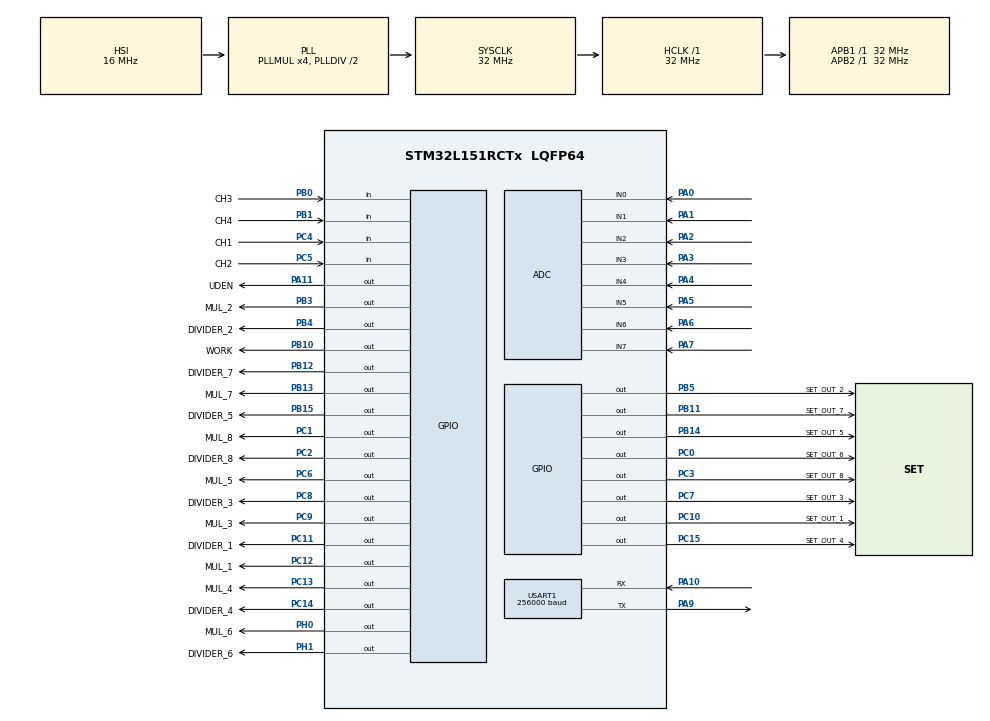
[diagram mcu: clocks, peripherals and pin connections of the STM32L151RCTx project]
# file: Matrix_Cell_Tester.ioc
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ADC.Channel-0\#ChannelRegularConversion=ADC_CHANNEL_0
ADC.Channel-1\#ChannelRegularConversion=ADC_CHANNEL_1
ADC.Channel-2\#ChannelRegularConversion=ADC_CHANNEL_2
ADC.Channel-3\#ChannelRegularConversion=ADC_CHANNEL_3
ADC.Channel-4\#ChannelRegularConversion=ADC_CHANNEL_4
ADC.Channel-5\#ChannelRegularConversion=ADC_CHANNEL_5
ADC.Channel-6\#ChannelRegularConversion=ADC_CHANNEL_6
ADC.Channel-7\#ChannelRegularConversion=ADC_CHANNEL_7
ADC.ClockPrescaler=ADC_CLOCK_ASYNC_DIV2
ADC.ContinuousConvMode=ENABLE
ADC.DMAContinuousRequests=ENABLE
ADC.EOCSelection=ADC_EOC_SEQ_CONV
ADC.NbrOfConversion=8
ADC.NbrOfConversionFlag=1
ADC.Rank-0\#ChannelRegularConversion=1
ADC.Rank-1\#ChannelRegularConversion=2
ADC.Rank-2\#ChannelRegularConversion=3
ADC.Rank-3\#ChannelRegularConversion=4
ADC.Rank-4\#ChannelRegularConversion=5
ADC.Rank-5\#ChannelRegularConversion=6
ADC.Rank-6\#ChannelRegularConversion=7
ADC.Rank-7\#ChannelRegularConversion=8
ADC.SamplingTime-0\#ChannelRegularConversion=ADC_SAMPLETIME_192CYCLES
ADC.SamplingTime-1\#ChannelRegularConversion=ADC_SAMPLETIME_192CYCLES
ADC.SamplingTime-2\#ChannelRegularConversion=ADC_SAMPLETIME_192CYCLES
ADC.SamplingTime-3\#ChannelRegularConversion=ADC_SAMPLETIME_192CYCLES
ADC.SamplingTime-4\#ChannelRegularConversion=ADC_SAMPLETIME_192CYCLES
ADC.SamplingTime-5\#ChannelRegularConversion=ADC_SAMPLETIME_192CYCLES
ADC.SamplingTime-6\#ChannelRegularConversion=ADC_SAMPLETIME_192CYCLES
ADC.SamplingTime-7\#ChannelRegularConversion=ADC_SAMPLETIME_192CYCLES
ADC.ScanConvMode=ADC_SCAN_ENABLE
Dma.ADC.0.Direction=DMA_PERIPH_TO_MEMORY
Dma.ADC.0.Instance=DMA1_Channel1
Dma.ADC.0.MemDataAlignment=DMA_MDATAALIGN_HALFWORD
Dma.ADC.0.MemInc=DMA_MINC_ENABLE
Dma.ADC.0.Mode=DMA_CIRCULAR
Dma.ADC.0.PeriphDataAlignment=DMA_PDATAALIGN_HALFWORD
Dma.ADC.0.PeriphInc=DMA_PINC_DISABLE
Dma.ADC.0.Priority=DMA_PRIORITY_HIGH
Dma.Request0=ADC
FREERTOS.Tasks01=defaultTask,0,128,StartDefaultTask,Default,NULL,Dynamic,NULL,NULL
FREERTOS.configTOTAL_HEAP_SIZE=12000
Mcu.Family=STM32L1
Mcu.Name=STM32L151RCTx
Mcu.Package=LQFP64
NVIC.ADC1_IRQn=true\:5\:0\:false\:false\:true\:true\:true\:true
NVIC.DMA1_Channel1_IRQn=true\:5\:0\:true\:false\:true\:true\:false\:true
NVIC.PriorityGroup=NVIC_PRIORITYGROUP_4
NVIC.TIM9_IRQn=true\:0\:0\:false\:false\:true\:false\:false\:true
NVIC.TimeBase=TIM9_IRQn
NVIC.TimeBaseIP=TIM9
NVIC.USART1_IRQn=true\:5\:0\:false\:false\:true\:true\:true\:true
PA0-WKUP1.Mode=IN0
PA0-WKUP1.Signal=ADC_IN0
PA1.Mode=IN1
PA1.Signal=ADC_IN1
PA10.Mode=Asynchronous
PA10.Signal=USART1_RX
PA11.GPIO_Label=UDEN
PA11.GPIO_Speed=GPIO_SPEED_FREQ_VERY_HIGH
PA11.Signal=GPIO_Output
PA13.Mode=Serial_Wire
PA13.Signal=SYS_JTMS-SWDIO
PA14.Mode=Serial_Wire
PA14.Signal=SYS_JTCK-SWCLK
PA2.Mode=IN2
PA2.Signal=ADC_IN2
PA3.Mode=IN3
PA3.Signal=ADC_IN3
PA4.Mode=IN4
PA4.Signal=ADC_IN4
PA5.Mode=IN5
PA5.Signal=ADC_IN5
PA6.Mode=IN6
PA6.Signal=ADC_IN6
PA7.Mode=IN7
PA7.Signal=ADC_IN7
PA9.Mode=Asynchronous
PA9.Signal=USART1_TX
PB0.GPIO_Label=CH3
PB0.GPIO_PuPd=GPIO_PULLUP
PB0.Signal=GPIO_Input
PB1.GPIO_Label=CH4
PB1.GPIO_PuPd=GPIO_PULLUP
PB1.Signal=GPIO_Input
PB10.GPIO_Label=WORK
PB10.GPIO_ModeDefaultOutputPP=GPIO_MODE_OUTPUT_PP
PB10.GPIO_PuPd=GPIO_NOPULL
PB10.GPIO_Speed=GPIO_SPEED_FREQ_VERY_HIGH
PB10.PinState=GPIO_PIN_RESET
PB10.Signal=GPIO_Output
PB11.GPIO_Label=SET_OUT_7
PB11.GPIO_ModeDefaultOutputPP=GPIO_MODE_OUTPUT_PP
PB11.GPIO_PuPd=GPIO_NOPULL
PB11.GPIO_Speed=GPIO_SPEED_FREQ_VERY_HIGH
PB11.PinState=GPIO_PIN_SET
PB11.Signal=GPIO_Output
PB12.GPIO_Label=DIVIDER_7
PB12.GPIO_ModeDefaultOutputPP=GPIO_MODE_OUTPUT_PP
PB12.GPIO_PuPd=GPIO_NOPULL
PB12.GPIO_Speed=GPIO_SPEED_FREQ_VERY_HIGH
PB12.PinState=GPIO_PIN_RESET
PB12.Signal=GPIO_Output
PB13.GPIO_Label=MUL_7
PB13.GPIO_ModeDefaultOutputPP=GPIO_MODE_OUTPUT_PP
PB13.GPIO_PuPd=GPIO_NOPULL
PB13.GPIO_Speed=GPIO_SPEED_FREQ_VERY_HIGH
PB13.PinState=GPIO_PIN_SET
PB13.Signal=GPIO_Output
PB14.GPIO_Label=SET_OUT_5
PB14.GPIO_ModeDefaultOutputPP=GPIO_MODE_OUTPUT_PP
PB14.GPIO_PuPd=GPIO_NOPULL
PB14.GPIO_Speed=GPIO_SPEED_FREQ_VERY_HIGH
PB14.PinState=GPIO_PIN_SET
PB14.Signal=GPIO_Output
PB15.GPIO_Label=DIVIDER_5
PB15.GPIO_ModeDefaultOutputPP=GPIO_MODE_OUTPUT_PP
PB15.GPIO_PuPd=GPIO_NOPULL
PB15.GPIO_Speed=GPIO_SPEED_FREQ_VERY_HIGH
PB15.PinState=GPIO_PIN_RESET
PB15.Signal=GPIO_Output
PB3.GPIO_Label=MUL_2
PB3.GPIO_ModeDefaultOutputPP=GPIO_MODE_OUTPUT_PP
PB3.GPIO_PuPd=GPIO_NOPULL
PB3.GPIO_Speed=GPIO_SPEED_FREQ_VERY_HIGH
PB3.PinState=GPIO_PIN_SET
PB3.Signal=GPIO_Output
PB4.GPIO_Label=DIVIDER_2
PB4.GPIO_ModeDefaultOutputPP=GPIO_MODE_OUTPUT_PP
PB4.GPIO_PuPd=GPIO_NOPULL
PB4.GPIO_Speed=GPIO_SPEED_FREQ_VERY_HIGH
PB4.PinState=GPIO_PIN_RESET
PB4.Signal=GPIO_Output
PB5.GPIO_Label=SET_OUT_2
PB5.GPIO_ModeDefaultOutputPP=GPIO_MODE_OUTPUT_PP
PB5.GPIO_PuPd=GPIO_NOPULL
PB5.GPIO_Speed=GPIO_SPEED_FREQ_VERY_HIGH
PB5.PinState=GPIO_PIN_SET
PB5.Signal=GPIO_Output
PC0.GPIO_Label=SET_OUT_6
PC0.GPIO_ModeDefaultOutputPP=GPIO_MODE_OUTPUT_PP
PC0.GPIO_PuPd=GPIO_NOPULL
PC0.GPIO_Speed=GPIO_SPEED_FREQ_VERY_HIGH
PC0.PinState=GPIO_PIN_SET
PC0.Signal=GPIO_Output
PC1.GPIO_Label=MUL_8
PC1.GPIO_ModeDefaultOutputPP=GPIO_MODE_OUTPUT_PP
PC1.GPIO_PuPd=GPIO_NOPULL
PC1.GPIO_Speed=GPIO_SPEED_FREQ_VERY_HIGH
PC1.PinState=GPIO_PIN_SET
PC1.Signal=GPIO_Output
PC10.GPIO_Label=SET_OUT_1
PC10.GPIO_ModeDefaultOutputPP=GPIO_MODE_OUTPUT_PP
PC10.GPIO_PuPd=GPIO_NOPULL
PC10.GPIO_Speed=GPIO_SPEED_FREQ_VERY_HIGH
PC10.PinState=GPIO_PIN_SET
PC10.Signal=GPIO_Output
PC11.GPIO_Label=DIVIDER_1
PC11.GPIO_ModeDefaultOutputPP=GPIO_MODE_OUTPUT_PP
PC11.GPIO_PuPd=GPIO_NOPULL
PC11.GPIO_Speed=GPIO_SPEED_FREQ_VERY_HIGH
PC11.PinState=GPIO_PIN_RESET
PC11.Signal=GPIO_Output
PC12.GPIO_Label=MUL_1
PC12.GPIO_ModeDefaultOutputPP=GPIO_MODE_OUTPUT_PP
PC12.GPIO_PuPd=GPIO_NOPULL
PC12.GPIO_Speed=GPIO_SPEED_FREQ_VERY_HIGH
PC12.PinState=GPIO_PIN_SET
PC12.Signal=GPIO_Output
PC13-WKUP2.GPIO_Label=MUL_4
PC13-WKUP2.GPIO_ModeDefaultOutputPP=GPIO_MODE_OUTPUT_PP
PC13-WKUP2.GPIO_PuPd=GPIO_NOPULL
PC13-WKUP2.GPIO_Speed=GPIO_SPEED_FREQ_VERY_HIGH
PC13-WKUP2.PinState=GPIO_PIN_SET
PC13-WKUP2.Signal=GPIO_Output
PC14-OSC32_IN.GPIO_Label=DIVIDER_4
PC14-OSC32_IN.GPIO_ModeDefaultOutputPP=GPIO_MODE_OUTPUT_PP
PC14-OSC32_IN.GPIO_PuPd=GPIO_NOPULL
PC14-OSC32_IN.GPIO_Speed=GPIO_SPEED_FREQ_VERY_HIGH
PC14-OSC32_IN.PinState=GPIO_PIN_RESET
PC14-OSC32_IN.Signal=GPIO_Output
PC15-OSC32_OUT.GPIO_Label=SET_OUT_4
PC15-OSC32_OUT.GPIO_ModeDefaultOutputPP=GPIO_MODE_OUTPUT_PP
PC15-OSC32_OUT.GPIO_PuPd=GPIO_NOPULL
PC15-OSC32_OUT.GPIO_Speed=GPIO_SPEED_FREQ_VERY_HIGH
PC15-OSC32_OUT.PinState=GPIO_PIN_SET
PC15-OSC32_OUT.Signal=GPIO_Output
PC2.GPIO_Label=DIVIDER_8
PC2.GPIO_ModeDefaultOutputPP=GPIO_MODE_OUTPUT_PP
PC2.GPIO_PuPd=GPIO_NOPULL
PC2.GPIO_Speed=GPIO_SPEED_FREQ_VERY_HIGH
PC2.PinState=GPIO_PIN_RESET
PC2.Signal=GPIO_Output
PC3.GPIO_Label=SET_OUT_8
PC3.GPIO_ModeDefaultOutputPP=GPIO_MODE_OUTPUT_PP
PC3.GPIO_PuPd=GPIO_NOPULL
PC3.GPIO_Speed=GPIO_SPEED_FREQ_VERY_HIGH
PC3.PinState=GPIO_PIN_SET
PC3.Signal=GPIO_Output
PC4.GPIO_Label=CH1
PC4.GPIO_PuPd=GPIO_PULLUP
PC4.Signal=GPIO_Input
PC5.GPIO_Label=CH2
PC5.GPIO_PuPd=GPIO_PULLUP
PC5.Signal=GPIO_Input
PC6.GPIO_Label=MUL_5
PC6.GPIO_ModeDefaultOutputPP=GPIO_MODE_OUTPUT_PP
PC6.GPIO_PuPd=GPIO_NOPULL
PC6.GPIO_Speed=GPIO_SPEED_FREQ_VERY_HIGH
PC6.PinState=GPIO_PIN_SET
PC6.Signal=GPIO_Output
PC7.GPIO_Label=SET_OUT_3
PC7.GPIO_ModeDefaultOutputPP=GPIO_MODE_OUTPUT_PP
PC7.GPIO_PuPd=GPIO_NOPULL
PC7.GPIO_Speed=GPIO_SPEED_FREQ_VERY_HIGH
PC7.PinState=GPIO_PIN_SET
PC7.Signal=GPIO_Output
PC8.GPIO_Label=DIVIDER_3
PC8.GPIO_ModeDefaultOutputPP=GPIO_MODE_OUTPUT_PP
PC8.GPIO_PuPd=GPIO_NOPULL
PC8.GPIO_Speed=GPIO_SPEED_FREQ_VERY_HIGH
PC8.PinState=GPIO_PIN_RESET
PC8.Signal=GPIO_Output
PC9.GPIO_Label=MUL_3
PC9.GPIO_ModeDefaultOutputPP=GPIO_MODE_OUTPUT_PP
PC9.GPIO_PuPd=GPIO_NOPULL
PC9.GPIO_Speed=GPIO_SPEED_FREQ_VERY_HIGH
PC9.PinState=GPIO_PIN_SET
PC9.Signal=GPIO_Output
PH0-OSC_IN.GPIO_Label=MUL_6
PH0-OSC_IN.GPIO_ModeDefaultOutputPP=GPIO_MODE_OUTPUT_PP
PH0-OSC_IN.GPIO_PuPd=GPIO_NOPULL
PH0-OSC_IN.GPIO_Speed=GPIO_SPEED_FREQ_VERY_HIGH
PH0-OSC_IN.PinState=GPIO_PIN_SET
PH0-OSC_IN.Signal=GPIO_Output
PH1-OSC_OUT.GPIO_Label=DIVIDER_6
PH1-OSC_OUT.GPIO_ModeDefaultOutputPP=GPIO_MODE_OUTPUT_PP
PH1-OSC_OUT.GPIO_PuPd=GPIO_NOPULL
PH1-OSC_OUT.GPIO_Speed=GPIO_SPEED_FREQ_VERY_HIGH
PH1-OSC_OUT.PinState=GPIO_PIN_RESET
PH1-OSC_OUT.Signal=GPIO_Output
ProjectManager.HeapSize=0x200
ProjectManager.StackSize=0x400
ProjectManager.TargetToolchain=STM32CubeIDE
RCC.48MHZClocksFreq_Value=32000000
RCC.AHBFreq_Value=32000000
RCC.APB1Freq_Value=32000000
RCC.APB1TimFreq_Value=32000000
RCC.APB2Freq_Value=32000000
RCC.APB2TimFreq_Value=32000000
RCC.HCLKFreq_Value=32000000
RCC.HSE_VALUE=24000000
RCC.HSI_VALUE=16000000
RCC.LSE_VALUE=32768
RCC.MSI_VALUE=2097000
RCC.PLLMUL=RCC_PLL_MUL4
RCC.SYSCLKFreq_VALUE=32000000
RCC.SYSCLKSource=RCC_SYSCLKSOURCE_PLLCLK
RCC.VCOOutputFreq_Value=64000000
USART1.BaudRate=256000
USART1.VirtualMode=VM_ASYNC
VP_ADC_Channel3SpeedFast.Mode=Channel3SpeedFast
VP_FREERTOS_VS_CMSIS_V1.Mode=CMSIS_V1
VP_SYS_VS_tim9.Mode=TIM9
board=custom

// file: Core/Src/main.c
/* USER CODE BEGIN Header */
/**
  ******************************************************************************
  * @file           : main.c
  * @brief          : Main program body
  ******************************************************************************
  * @attention
  *
  * <h2><center>&copy; Copyright (c) 2021 STMicroelectronics.
  * All rights reserved.</center></h2>
  *
  * This software component is licensed by ST under Ultimate Liberty license
  * SLA0044, the "License"; You may not use this file except in compliance with
  * the License. You may obtain a copy of the License at:
  *                             www.st.com/SLA0044
  *
  ******************************************************************************
  */
/* USER CODE END Header */
#include "main.h"
#include "cmsis_os.h"

/* USER CODE BEGIN Includes */
#include "../Threads/CMD_thread.h"
#include "../Threads/INOUT_thread.h"
/* USER CODE END Includes */

/* USER CODE BEGIN PTD */
//xQueueHandle usr_serial_rx_queue;
//xQueueHandle usr_serial_tx_queue;
xQueueHandle Rs485_serial_rx_queue;
xQueueHandle Rs485_serial_tx_queue;
portBASE_TYPE queue_status = pdFALSE;
portBASE_TYPE rx_queue_status = pdFALSE;
/* USER CODE END PTD */

ADC_HandleTypeDef hadc;
DMA_HandleTypeDef hdma_adc;

UART_HandleTypeDef huart1;

osThreadId defaultTaskHandle;
/* USER CODE BEGIN PV */
osThreadId CMD_threadHandle;
osThreadId INOUT_threadHandle;
osThreadId RS485_threadHandle;
/* USER CODE END PV */

void SystemClock_Config(void);
static void MX_GPIO_Init(void);
static void MX_ADC_Init(void);
static void MX_DMA_Init(void);
static void MX_USART1_UART_Init(void);
void StartDefaultTask(void const * argument);

int main(void)
{

  /* MCU Configuration--------------------------------------------------------*/

  /* Reset of all peripherals, Initializes the Flash interface and the Systick. */
  HAL_Init();

  /* Configure the system clock */
  SystemClock_Config();

  /* USER CODE BEGIN SysInit */
  MX_DMA_Init();
  /* USER CODE END SysInit */

  /* Initialize all configured peripherals */
  MX_GPIO_Init();
  MX_ADC_Init();
  MX_DMA_Init();
  MX_USART1_UART_Init();

  /* USER CODE BEGIN RTOS_QUEUES */
  //usr_serial_rx_queue = xQueueCreate(256, sizeof(uint8_t));
  //usr_serial_tx_queue = xQueueCreate(256, sizeof(uint8_t));
  Rs485_serial_rx_queue = xQueueCreate(250, sizeof(uint8_t));
  Rs485_serial_tx_queue = xQueueCreate(250, sizeof(uint8_t));

  /* USER CODE END RTOS_QUEUES */

  /* Create the thread(s) */
  /* definition and creation of defaultTask */
  osThreadDef(defaultTask, StartDefaultTask, osPriorityNormal, 0, 128);
  defaultTaskHandle = osThreadCreate(osThread(defaultTask), NULL);

  /* USER CODE BEGIN RTOS_THREADS */
  osThreadDef(CMD_threadHandle, CMD_task, osPriorityNormal, 0, 512);
  CMD_threadHandle = osThreadCreate(osThread(CMD_threadHandle), NULL);

  osThreadDef(INOUT_threadHandle, INOUT_task, osPriorityNormal, 0, 512);
  INOUT_threadHandle = osThreadCreate(osThread(INOUT_threadHandle), NULL);

//  osThreadDef(RS485_threadHandle, Rs485_task, osPriorityNormal, 0, 768);
//  RS485_threadHandle = osThreadCreate(osThread(RS485_threadHandle), NULL);
  /* USER CODE END RTOS_THREADS */

  /* Start scheduler */
  osKernelStart();

  /* We should never get here as control is now taken by the scheduler */
  /* Infinite loop */
  while (1)
  {

  }
}

void SystemClock_Config(void)
{
  RCC_OscInitTypeDef RCC_OscInitStruct = {0};
  RCC_ClkInitTypeDef RCC_ClkInitStruct = {0};

  /** Configure the main internal regulator output voltage
  */
  __HAL_PWR_VOLTAGESCALING_CONFIG(PWR_REGULATOR_VOLTAGE_SCALE1);
  /** Initializes the RCC Oscillators according to the specified parameters
  * in the RCC_OscInitTypeDef structure.
  */
  RCC_OscInitStruct.OscillatorType = RCC_OSCILLATORTYPE_HSI;
  RCC_OscInitStruct.HSIState = RCC_HSI_ON;
  RCC_OscInitStruct.HSICalibrationValue = RCC_HSICALIBRATION_DEFAULT;
  RCC_OscInitStruct.PLL.PLLState = RCC_PLL_ON;
  RCC_OscInitStruct.PLL.PLLSource = RCC_PLLSOURCE_HSI;
  RCC_OscInitStruct.PLL.PLLMUL = RCC_PLL_MUL4;
  RCC_OscInitStruct.PLL.PLLDIV = RCC_PLL_DIV2;
  if (HAL_RCC_OscConfig(&RCC_OscInitStruct) != HAL_OK)
  {
    Error_Handler();
  }
  /** Initializes the CPU, AHB and APB buses clocks
  */
  RCC_ClkInitStruct.ClockType = RCC_CLOCKTYPE_HCLK|RCC_CLOCKTYPE_SYSCLK
                              |RCC_CLOCKTYPE_PCLK1|RCC_CLOCKTYPE_PCLK2;
  RCC_ClkInitStruct.SYSCLKSource = RCC_SYSCLKSOURCE_PLLCLK;
  RCC_ClkInitStruct.AHBCLKDivider = RCC_SYSCLK_DIV1;
  RCC_ClkInitStruct.APB1CLKDivider = RCC_HCLK_DIV1;
  RCC_ClkInitStruct.APB2CLKDivider = RCC_HCLK_DIV1;

  if (HAL_RCC_ClockConfig(&RCC_ClkInitStruct, FLASH_LATENCY_1) != HAL_OK)
  {
    Error_Handler();
  }
}

static void MX_ADC_Init(void)
{

  ADC_ChannelConfTypeDef sConfig = {0};

  /** Configure the global features of the ADC (Clock, Resolution, Data Alignment and number of conversion)
  */
  hadc.Instance = ADC1;
  hadc.Init.ClockPrescaler = ADC_CLOCK_ASYNC_DIV2;
  hadc.Init.Resolution = ADC_RESOLUTION_12B;
  hadc.Init.DataAlign = ADC_DATAALIGN_RIGHT;
  hadc.Init.ScanConvMode = ADC_SCAN_ENABLE;
  hadc.Init.EOCSelection = ADC_EOC_SEQ_CONV;
  hadc.Init.LowPowerAutoWait = ADC_AUTOWAIT_DISABLE;
  hadc.Init.LowPowerAutoPowerOff = ADC_AUTOPOWEROFF_DISABLE;
  hadc.Init.ChannelsBank = ADC_CHANNELS_BANK_A;
  hadc.Init.ContinuousConvMode = ENABLE;
  hadc.Init.NbrOfConversion = 8;
  hadc.Init.DiscontinuousConvMode = DISABLE;
  hadc.Init.ExternalTrigConv = ADC_SOFTWARE_START;
  hadc.Init.ExternalTrigConvEdge = ADC_EXTERNALTRIGCONVEDGE_NONE;
  hadc.Init.DMAContinuousRequests = ENABLE;
  if (HAL_ADC_Init(&hadc) != HAL_OK)
  {
    Error_Handler();
  }
  /** Configure the channel speed in Fast mode
  */
  __HAL_ADC_CHANNEL_SPEED_FAST(ADC_CHANNEL_3);
  /** Configure for the selected ADC regular channel its corresponding rank in the sequencer and its sample time.
  */
  sConfig.Channel = ADC_CHANNEL_0;
  sConfig.Rank = ADC_REGULAR_RANK_1;
  sConfig.SamplingTime = ADC_SAMPLETIME_192CYCLES;
  if (HAL_ADC_ConfigChannel(&hadc, &sConfig) != HAL_OK)
  {
    Error_Handler();
  }
  /** Configure for the selected ADC regular channel its corresponding rank in the sequencer and its sample time.
  */
  sConfig.Channel = ADC_CHANNEL_1;
  sConfig.Rank = ADC_REGULAR_RANK_2;
  if (HAL_ADC_ConfigChannel(&hadc, &sConfig) != HAL_OK)
  {
    Error_Handler();
  }
  /** Configure for the selected ADC regular channel its corresponding rank in the sequencer and its sample time.
  */
  sConfig.Channel = ADC_CHANNEL_2;
  sConfig.Rank = ADC_REGULAR_RANK_3;
  if (HAL_ADC_ConfigChannel(&hadc, &sConfig) != HAL_OK)
  {
    Error_Handler();
  }
  /** Configure for the selected ADC regular channel its corresponding rank in the sequencer and its sample time.
  */
  sConfig.Channel = ADC_CHANNEL_3;
  sConfig.Rank = ADC_REGULAR_RANK_4;
  if (HAL_ADC_ConfigChannel(&hadc, &sConfig) != HAL_OK)
  {
    Error_Handler();
  }
  /** Configure for the selected ADC regular channel its corresponding rank in the sequencer and its sample time.
  */
  sConfig.Channel = ADC_CHANNEL_4;
  sConfig.Rank = ADC_REGULAR_RANK_5;
  if (HAL_ADC_ConfigChannel(&hadc, &sConfig) != HAL_OK)
  {
    Error_Handler();
  }
  /** Configure for the selected ADC regular channel its corresponding rank in the sequencer and its sample time.
  */
  sConfig.Channel = ADC_CHANNEL_5;
  sConfig.Rank = ADC_REGULAR_RANK_6;
  if (HAL_ADC_ConfigChannel(&hadc, &sConfig) != HAL_OK)
  {
    Error_Handler();
  }
  /** Configure for the selected ADC regular channel its corresponding rank in the sequencer and its sample time.
  */
  sConfig.Channel = ADC_CHANNEL_6;
  sConfig.Rank = ADC_REGULAR_RANK_7;
  if (HAL_ADC_ConfigChannel(&hadc, &sConfig) != HAL_OK)
  {
    Error_Handler();
  }
  /** Configure for the selected ADC regular channel its corresponding rank in the sequencer and its sample time.
  */
  sConfig.Channel = ADC_CHANNEL_7;
  sConfig.Rank = ADC_REGULAR_RANK_8;
  if (HAL_ADC_ConfigChannel(&hadc, &sConfig) != HAL_OK)
  {
    Error_Handler();
  }

}

static void MX_USART1_UART_Init(void)
{

  huart1.Instance = USART1;
  huart1.Init.BaudRate = 256000;
  huart1.Init.WordLength = UART_WORDLENGTH_8B;
  huart1.Init.StopBits = UART_STOPBITS_1;
  huart1.Init.Parity = UART_PARITY_NONE;
  huart1.Init.Mode = UART_MODE_TX_RX;
  huart1.Init.HwFlowCtl = UART_HWCONTROL_NONE;
  huart1.Init.OverSampling = UART_OVERSAMPLING_16;
  if (HAL_UART_Init(&huart1) != HAL_OK)
  {
    Error_Handler();
  }

}

static void MX_DMA_Init(void)
{

  /* DMA controller clock enable */
  __HAL_RCC_DMA1_CLK_ENABLE();

  /* DMA interrupt init */
  /* DMA1_Channel1_IRQn interrupt configuration */
  HAL_NVIC_SetPriority(DMA1_Channel1_IRQn, 5, 0);
  HAL_NVIC_EnableIRQ(DMA1_Channel1_IRQn);

}

static void MX_GPIO_Init(void)
{
  GPIO_InitTypeDef GPIO_InitStruct = {0};

  /* GPIO Ports Clock Enable */
  __HAL_RCC_GPIOC_CLK_ENABLE();
  __HAL_RCC_GPIOH_CLK_ENABLE();
  __HAL_RCC_GPIOA_CLK_ENABLE();
  __HAL_RCC_GPIOB_CLK_ENABLE();

  /*Configure GPIO pin Output Level */
  HAL_GPIO_WritePin(GPIOC, MUL_4_Pin|SET_OUT_4_Pin|SET_OUT_6_Pin|MUL_8_Pin
                          |SET_OUT_8_Pin|MUL_5_Pin|SET_OUT_3_Pin|MUL_3_Pin
                          |SET_OUT_1_Pin|MUL_1_Pin, GPIO_PIN_SET);

  /*Configure GPIO pin Output Level */
  HAL_GPIO_WritePin(GPIOC, DIVIDER_4_Pin|DIVIDER_8_Pin|DIVIDER_3_Pin|DIVIDER_1_Pin, GPIO_PIN_RESET);

  /*Configure GPIO pin Output Level */
  HAL_GPIO_WritePin(MUL_6_GPIO_Port, MUL_6_Pin, GPIO_PIN_SET);

  /*Configure GPIO pin Output Level */
  HAL_GPIO_WritePin(DIVIDER_6_GPIO_Port, DIVIDER_6_Pin, GPIO_PIN_RESET);

  /*Configure GPIO pin Output Level */
  HAL_GPIO_WritePin(GPIOB, WORK_Pin|DIVIDER_7_Pin|DIVIDER_5_Pin|DIVIDER_2_Pin, GPIO_PIN_RESET);

  /*Configure GPIO pin Output Level */
  HAL_GPIO_WritePin(GPIOB, SET_OUT_7_Pin|MUL_7_Pin|SET_OUT_5_Pin|MUL_2_Pin
                          |SET_OUT_2_Pin, GPIO_PIN_SET);

  /*Configure GPIO pin Output Level */
  HAL_GPIO_WritePin(UDEN_GPIO_Port, UDEN_Pin, GPIO_PIN_RESET);

  /*Configure GPIO pins : MUL_4_Pin DIVIDER_4_Pin SET_OUT_4_Pin SET_OUT_6_Pin
                           MUL_8_Pin DIVIDER_8_Pin SET_OUT_8_Pin MUL_5_Pin
                           SET_OUT_3_Pin DIVIDER_3_Pin MUL_3_Pin SET_OUT_1_Pin
                           DIVIDER_1_Pin MUL_1_Pin */
  GPIO_InitStruct.Pin = MUL_4_Pin|DIVIDER_4_Pin|SET_OUT_4_Pin|SET_OUT_6_Pin
                          |MUL_8_Pin|DIVIDER_8_Pin|SET_OUT_8_Pin|MUL_5_Pin
                          |SET_OUT_3_Pin|DIVIDER_3_Pin|MUL_3_Pin|SET_OUT_1_Pin
                          |DIVIDER_1_Pin|MUL_1_Pin;
  GPIO_InitStruct.Mode = GPIO_MODE_OUTPUT_PP;
  GPIO_InitStruct.Pull = GPIO_NOPULL;
  GPIO_InitStruct.Speed = GPIO_SPEED_FREQ_VERY_HIGH;
  HAL_GPIO_Init(GPIOC, &GPIO_InitStruct);

  /*Configure GPIO pins : MUL_6_Pin DIVIDER_6_Pin */
  GPIO_InitStruct.Pin = MUL_6_Pin|DIVIDER_6_Pin;
  GPIO_InitStruct.Mode = GPIO_MODE_OUTPUT_PP;
  GPIO_InitStruct.Pull = GPIO_NOPULL;
  GPIO_InitStruct.Speed = GPIO_SPEED_FREQ_VERY_HIGH;
  HAL_GPIO_Init(GPIOH, &GPIO_InitStruct);

  /*Configure GPIO pins : CH1_Pin CH2_Pin */
  GPIO_InitStruct.Pin = CH1_Pin|CH2_Pin;
  GPIO_InitStruct.Mode = GPIO_MODE_INPUT;
  GPIO_InitStruct.Pull = GPIO_PULLUP;
  HAL_GPIO_Init(GPIOC, &GPIO_InitStruct);

  /*Configure GPIO pins : CH3_Pin CH4_Pin */
  GPIO_InitStruct.Pin = CH3_Pin|CH4_Pin;
  GPIO_InitStruct.Mode = GPIO_MODE_INPUT;
  GPIO_InitStruct.Pull = GPIO_PULLUP;
  HAL_GPIO_Init(GPIOB, &GPIO_InitStruct);

  /*Configure GPIO pins : WORK_Pin SET_OUT_7_Pin DIVIDER_7_Pin MUL_7_Pin
                           SET_OUT_5_Pin DIVIDER_5_Pin MUL_2_Pin DIVIDER_2_Pin
                           SET_OUT_2_Pin */
  GPIO_InitStruct.Pin = WORK_Pin|SET_OUT_7_Pin|DIVIDER_7_Pin|MUL_7_Pin
                          |SET_OUT_5_Pin|DIVIDER_5_Pin|MUL_2_Pin|DIVIDER_2_Pin
                          |SET_OUT_2_Pin;
  GPIO_InitStruct.Mode = GPIO_MODE_OUTPUT_PP;
  GPIO_InitStruct.Pull = GPIO_NOPULL;
  GPIO_InitStruct.Speed = GPIO_SPEED_FREQ_VERY_HIGH;
  HAL_GPIO_Init(GPIOB, &GPIO_InitStruct);

  /*Configure GPIO pin : UDEN_Pin */
  GPIO_InitStruct.Pin = UDEN_Pin;
  GPIO_InitStruct.Mode = GPIO_MODE_OUTPUT_PP;
  GPIO_InitStruct.Pull = GPIO_NOPULL;
  GPIO_InitStruct.Speed = GPIO_SPEED_FREQ_VERY_HIGH;
  HAL_GPIO_Init(UDEN_GPIO_Port, &GPIO_InitStruct);

}

void StartDefaultTask(void const * argument)
{
  for(;;)
  {
    osDelay(1);
  }
}

void HAL_TIM_PeriodElapsedCallback(TIM_HandleTypeDef *htim)
{
  if (htim->Instance == TIM9) {
    HAL_IncTick();
  }
}

void Error_Handler(void)
{
  __disable_irq();
  while (1)
  {
  }
}
